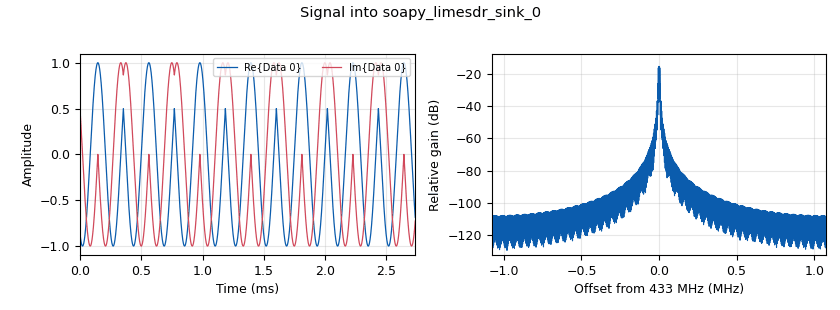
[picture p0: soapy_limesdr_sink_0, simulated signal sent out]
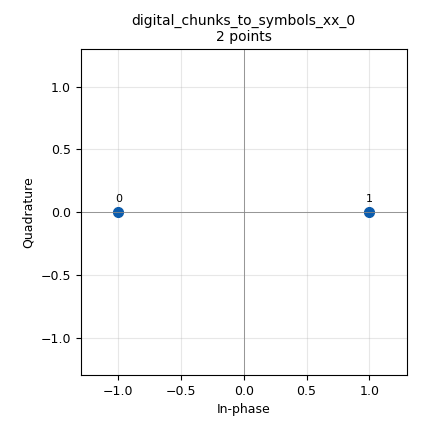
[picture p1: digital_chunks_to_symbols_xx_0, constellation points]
options:
  parameters:
    author: diego
    description: LimeSDR 2FSK 01 Bit Pattern Transmitter for Field Testing
    generate_options: qt_gui
    id: limesdr_tx_01
    output_language: python
    title: LimeSDR 01 Pattern Transmitter
  states: {}

blocks:
- name: bitrate
  id: variable
  parameters:
    value: '9600'
  states: {}
- name: deviation
  id: variable
  parameters:
    value: '4000'
  states: {}
- name: rf_freq
  id: variable
  parameters:
    value: '433_000_000'
  states: {}
- name: samp_rate
  id: variable
  parameters:
    value: '2_160_000'
  states: {}
- name: sensitivity
  id: variable
  parameters:
    value: 2 * math.pi * deviation / samp_rate
  states: {}
- name: sps
  id: variable
  parameters:
    value: int(samp_rate / bitrate)
  states: {}
- name: tx_gain
  id: variable_qtgui_range
  parameters:
    label: TX Gain
    start: '-12'
    step: '1'
    stop: '64'
    value: '64'
  states: {}
- name: analog_frequency_modulator_fc_0
  id: analog_frequency_modulator_fc
  parameters:
    sensitivity: sensitivity
  states: {}
- name: blocks_vector_source_x_0
  id: blocks_vector_source_x
  parameters:
    comment: 00110011 pattern source
    repeat: 'True'
    type: byte
    vector: (0, 0, 1, 1, 0, 0, 1, 1)
  states: {}
- name: blocks_repeat_0
  id: blocks_repeat
  parameters:
    interp: sps
    type: float
  states: {}
- name: digital_chunks_to_symbols_xx_0
  id: digital_chunks_to_symbols_xx
  parameters:
    dimension: '1'
    in_type: byte
    out_type: float
    symbol_table: '[-1, 1]'
  states: {}
- name: import_math
  id: import
  parameters:
    imports: import math, pmt, sys, os
  states: {}
- name: soapy_limesdr_sink_0
  id: soapy_limesdr_sink
  parameters:
    center_freq: rf_freq
    gain: tx_gain
    samp_rate: samp_rate
    type: fc32
  states: {}

connections:
- [analog_frequency_modulator_fc_0, '0', soapy_limesdr_sink_0, '0']
- [blocks_vector_source_x_0, '0', digital_chunks_to_symbols_xx_0, '0']
- [blocks_repeat_0, '0', analog_frequency_modulator_fc_0, '0']
- [digital_chunks_to_symbols_xx_0, '0', blocks_repeat_0, '0']

metadata:
  file_format: 1
  grc_version: 3.10.7.0
